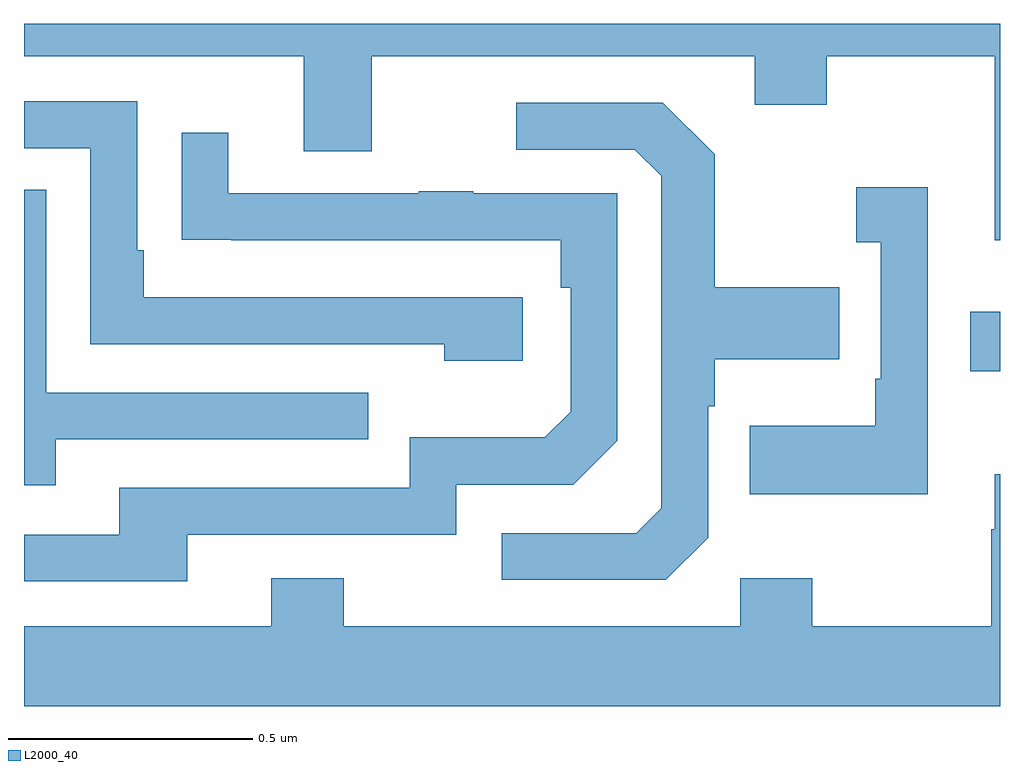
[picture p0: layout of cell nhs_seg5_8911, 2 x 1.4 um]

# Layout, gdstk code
import gdstk
lib = gdstk.Library(unit=1e-6, precision=1e-09)
def R(c, l, rs):  # rectangles x0, y0, x1, y1
    for r in rs: c.add(gdstk.rectangle(r[:2], r[2:], *l))
def P(c, l, *ps):  # polygons
    for p in ps: c.add(gdstk.Polygon(p, *l))
L2000_40 = (2000, 40)

nhs_seg5_8911 = lib.new_cell('nhs_seg5_8911')
R(nhs_seg5_8911, L2000_40, [(228.939,884.087,229,884.209)])
P(nhs_seg5_8911, L2000_40, [(229,884.799),(227,884.799),(227,884.732),(227.573,884.732),(227.573,884.538),(227.713,884.538),(227.713,884.732),(228.497,884.732),(228.497,884.633),(228.645,884.633),(228.645,884.732),(228.989,884.732),(228.989,884.355),(229,884.355)],
  [(228.022,884.238),(227.245,884.238),(227.245,884.335),(227.232,884.335),(227.232,884.64),(227,884.64),(227,884.544),(227.136,884.544),(227.136,884.142),(227.861,884.142),(227.861,884.108),(228.022,884.108)],
  [(228.402,883.746),(228.402,884.015),(228.415,884.015),(228.415,884.111),(228.671,884.111),(228.671,884.259),(228.415,884.259),(228.415,884.531),(228.309,884.637),(228.009,884.637),(228.009,884.541),(228.252,884.541),(228.306,884.487),(228.306,883.806),(228.255,883.755),(227.979,883.755),(227.979,883.659),(228.315,883.659)],
  [(227.335,883.752),(227.886,883.752),(227.886,883.854),(228.126,883.854),(228.216,883.944),(228.216,884.451),(227.921,884.451),(227.921,884.456),(227.809,884.456),(227.809,884.451),(227.419,884.451),(227.419,884.575),(227.323,884.575),(227.323,884.356),(227.425,884.356),(227.425,884.355),(228.1,884.355),(228.1,884.258),(228.12,884.258),(228.12,884.004),(228.067,883.951),(227.79,883.951),(227.79,883.848),(227.195,883.848),(227.195,883.752),(227,883.752),(227,883.656),(227.335,883.656)],
  [(228.852,884.464),(228.705,884.464),(228.705,884.351),(228.756,884.351),(228.756,884.071),(228.744,884.071),(228.744,883.975),(228.487,883.975),(228.487,883.835),(228.852,883.835)],
  [(227.065,883.947),(227.705,883.947),(227.705,884.043),(227.046,884.043),(227.046,884.459),(227,884.459),(227,883.853),(227.065,883.853)],
  [(229,883.876),(228.989,883.876),(228.989,883.763),(228.982,883.763),(228.982,883.564),(228.615,883.564),(228.615,883.663),(228.468,883.663),(228.468,883.564),(227.655,883.564),(227.655,883.663),(227.507,883.663),(227.507,883.564),(227,883.564),(227,883.4),(229,883.4)])

lib.write_gds('nhs_seg5_8911.gds')
